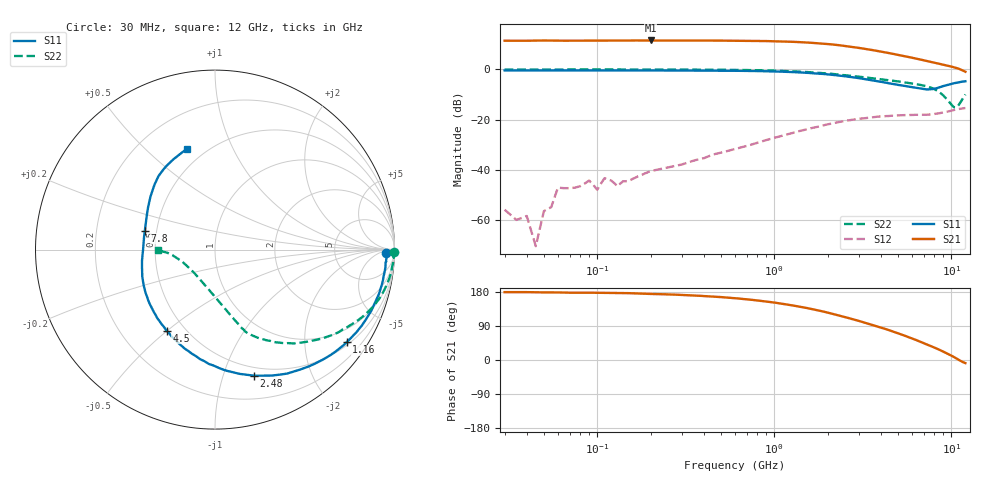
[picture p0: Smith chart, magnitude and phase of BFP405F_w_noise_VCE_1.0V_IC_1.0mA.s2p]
! Infineon Technologies  Discrete & RF Semiconductors
! BFP405F
! VCE =  1.0 V,  IC =  1.0 mA
! Common Emitter S-Parameters:  Nov 2015
# GHz  S  MA  R  50
!  f  S11  S21  S12  S22
! GHz  MAG  ANG  MAG  ANG  MAG  ANG  MAG  ANG
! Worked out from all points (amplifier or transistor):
!   239 points, 30 MHz to 12 GHz, reference 50 ohm
!   highest |S21| = 11.5 dB at 200 MHz (marker M1)
!   |S21| within 3 dB of that: start of sweep to 3.024 GHz
!   unconditionally stable (mu >= 1): 4.646 GHz to end of sweep
!   at 300 MHz: K = 0.02, MSG = 24.7 dB, |S12| = -37.9 dB
!   at 1.88 GHz: K = 0.26, MSG = 16.3 dB, |S12| = -22.3 dB
!   at 12 GHz: K = 1.99, MAG = 1.5 dB, |S12| = -15.4 dB
!   lowest NFmin = 0.95 dB at 450 MHz
!   S11 on the Smith chart (normalised r, x): 30 MHz: 38, -14; 1.16 GHz: 0.58, -3.05; 2.48 GHz: 0.42, -1.27; 4.5 GHz: 0.40, -0.50; 7.8 GHz: 0.43, +0.11; 12 GHz: 0.40, +0.68
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0.03  0.9547 -1.0  3.731 179.1  0.0016 53.1  0.9961 -0.7
0.035  0.9545 -1.0  3.73 179.1  0.001 91.5  0.9967 -0.8
0.04  0.9543 -1.1  3.729 179.1  0.0012 147.4  0.9974 -0.8
0.045  0.9544 -1.5  3.751 178.7  0.0003 -95.5  0.997 -0.9
0.05  0.9546 -1.8  3.773 178.4  0.0015 -50.1  0.9967 -1.0
0.055  0.9558 -1.7  3.754 178.4  0.0018 62.9  0.9954 -1.0
0.06  0.9571 -1.6  3.736 178.3  0.0044 81.2  0.9942 -1.1
0.085  0.9563 -2.7  3.735 177.5  0.0053 75.5  0.9979 -1.6
0.1  0.9569 -3.0  3.732 177.4  0.004 99.0  0.9954 -2.0
0.11  0.9551 -3.4  3.733 177.1  0.0068 82.0  0.9949 -2.0
0.13  0.9563 -4.0  3.747 176.6  0.0047 91.6  0.996 -2.5
0.2  0.9545 -6.1  3.778 174.3  0.0094 88.5  0.9955 -3.7
0.24  0.9533 -7.4  3.764 173.4  0.0108 87.8  0.9944 -4.4
0.6  0.9396 -18.3  3.733 163.0  0.026 83.5  0.9785 -11.0
1.16  0.8967 -35.2  3.581 147.1  0.0496 71.8  0.9297 -20.7
1.64  0.8422 -49.4  3.384 134.1  0.0682 63.3  0.8729 -28.1
2.48  0.7346 -72.9  2.949 113.8  0.0937 49.8  0.7716 -40.1
3.3  0.638 -93.1  2.549 97.5  0.1075 39.3  0.6904 -48.9
4.5  0.5261 -120.9  2.1 77.9  0.1188 29.1  0.6077 -57.7
7.8  0.405 164.9  1.389 35.2  0.128 19.5  0.4234 -73.3
10.4  0.5321 122.4  1.098 7.2  0.156 17.1  0.1752 -128.8
12  0.5808 105.7  0.899 -8.2  0.1704 14.0  0.3166 -179.5
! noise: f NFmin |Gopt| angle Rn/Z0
0.45  0.95  0.71  8  0.64
0.9  0.98  0.67  15  0.67
1.5  1.19  0.65  22  0.58
1.9  1.27  0.61  31  0.56
2.4  1.5  0.57  41  0.57
3  1.58  0.55  52  0.52
3.5  1.65  0.54  62  0.48
4.5  1.9  0.46  83  0.38
5.5  2.29  0.32  105  0.28
